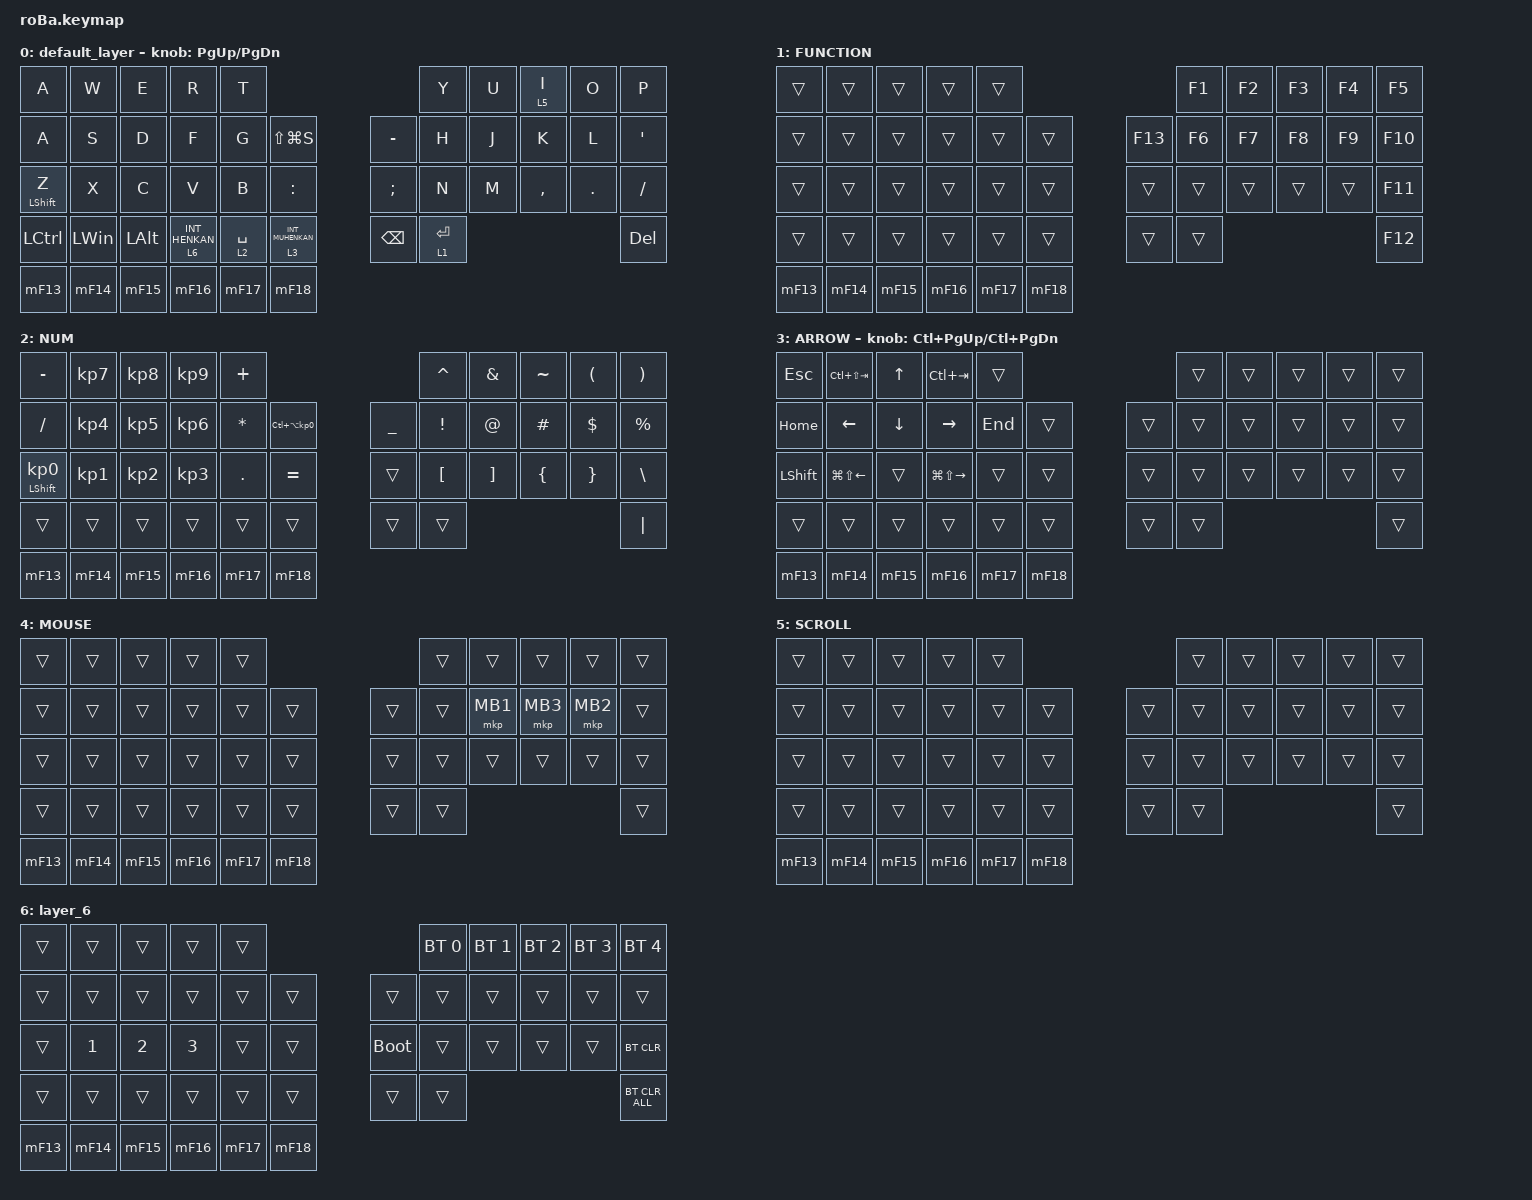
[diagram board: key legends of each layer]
#include <behaviors.dtsi>
#include <dt-bindings/zmk/bt.h>
#include <dt-bindings/zmk/keys.h>
#include <dt-bindings/zmk/pointing.h>

#define MOUSE 4
#define SCROLL 5
#define NUM 6

&mt {
    flavor = "balanced";
    quick-tap-ms = <0>;
};

/ {
    combos {
        compatible = "zmk,combos";

        tab {
            bindings = <&kp TAB>;
            key-positions = <11 12>;
        };

        shift_tab {
            bindings = <&kp LS(TAB)>;
            key-positions = <12 13>;
        };

        muhennkann {
            bindings = <&to_layer_0 INT_MUHENKAN>;
            key-positions = <11 10>;
        };

        double_quotation {
            bindings = <&kp DOUBLE_QUOTES>;
            key-positions = <20 21>;
        };

        eq {
            bindings = <&kp EQUAL>;
            key-positions = <24 25>;
        };
    };

    macros {
        to_layer_0: to_layer_0 {
            compatible = "zmk,behavior-macro-one-param";
            #binding-cells = <1>;
            bindings = <&to 0 &macro_param_1to1 &kp MACRO_PLACEHOLDER>;
            label = "TO_LAYER_0";
        };
    };

    behaviors {
        lt_to_layer_0: lt_to_layer_0 {
            compatible = "zmk,behavior-hold-tap";
            label = "LAYER_TAP_TO_0";
            bindings = <&mo>, <&to_layer_0>;

            #binding-cells = <2>;
            tapping-term-ms = <200>;
        };
        
		leader1: leader1 {
            compatible = "zmk,behavior-leader-key";
            #binding-cells = <0>;
            leftdown { sequence = <F14 F15>; bindings = <&kp PG_DN>; };
        };
        leader2: leader2 {
            compatible = "zmk,behavior-leader-key";
            #binding-cells = <0>;
            leftup   { sequence = <F14 F13>; bindings = <&kp PG_UP>; };
        };
        leader3: leader3 {
            compatible = "zmk,behavior-leader-key";
            #binding-cells = <0>;
            rightdown { sequence = <F17 F18>; bindings = <&kp END>; };
        };
        leader4: leader4 {
            compatible = "zmk,behavior-leader-key";
            #binding-cells = <0>;
            rightup   { sequence = <F17 F16>; bindings = <&kp HOME>; };
        };
		mF13: mF13 {
            compatible = "zmk,behavior-macro";
            #binding-cells = <0>;
            bindings = <&macro_tap &kp F13>
                     , <&leader1>;
        };
        mF14: mF14 {
            compatible = "zmk,behavior-macro";
            #binding-cells = <0>;
            bindings = <&macro_tap &kp F14>;
        };
        mF15: mF15 {
            compatible = "zmk,behavior-macro";
            #binding-cells = <0>;
            bindings = <&macro_tap &kp F15>
                     , <&leader2>;
        };
        mF16: mF16 {
            compatible = "zmk,behavior-macro";
            #binding-cells = <0>;
            bindings = <&macro_tap &kp F16>
                    , <&leader3>;
        };
        mF17: mF17 {
            compatible = "zmk,behavior-macro";
            #binding-cells = <0>;
            bindings = <&macro_tap &kp F17>;
        };
        mF18: mF18 {
            compatible = "zmk,behavior-macro";
            #binding-cells = <0>;
            bindings = <&macro_tap &kp F18>
                    , <&leader4>;
        };
    };

    keymap {
        compatible = "zmk,keymap";

        default_layer {
            bindings = <
&kp A             &kp W         &kp E         &kp R                        &kp T                                                          &kp Y        &kp U  &lt 5 I    &kp O    &kp P
&kp A             &kp S         &kp D         &kp F                        &kp G        &kp LS(LG(S))                      &kp MINUS      &kp H        &kp J  &kp K      &kp L    &kp SQT
&mt LEFT_SHIFT Z  &kp X         &kp C         &kp V                        &kp B        &kp COLON                          &kp SEMICOLON  &kp N        &kp M  &kp COMMA  &kp DOT  &kp SLASH
&kp LCTRL         &kp LEFT_WIN  &kp LEFT_ALT  &lt_to_layer_0 6 INT_HENKAN  &lt 2 SPACE  &lt_to_layer_0 3 INT_MUHENKAN      &kp BACKSPACE  &lt 1 ENTER                             &kp DEL
&mF13   &mF14   &mF15   &mF16   &mF17   &mF18
            >;

            sensor-bindings = <&inc_dec_kp PG_UP PAGE_DOWN>;
        };

        FUNCTION {
            bindings = <
&trans  &trans  &trans  &trans  &trans                       &kp F1  &kp F2  &kp F3  &kp F4  &kp F5
&trans  &trans  &trans  &trans  &trans  &trans      &kp F13  &kp F6  &kp F7  &kp F8  &kp F9  &kp F10
&trans  &trans  &trans  &trans  &trans  &trans      &trans   &trans  &trans  &trans  &trans  &kp F11
&trans  &trans  &trans  &trans  &trans  &trans      &trans   &trans                          &kp F12
&mF13   &mF14   &mF15   &mF16   &mF17   &mF18
            >;
        };

        NUM {
            bindings = <
&kp MINUS                   &kp KP_NUMBER_7  &kp KP_NUMBER_8  &kp KP_NUMBER_9  &kp PLUS                                                   &kp CARET         &kp AMPERSAND      &kp TILDE       &kp LEFT_PARENTHESIS  &kp RIGHT_PARENTHESIS
&kp SLASH                   &kp KP_NUMBER_4  &kp KP_NUMBER_5  &kp KP_NUMBER_6  &kp ASTERISK  &kp LC(LA(KP_NUMBER_0))      &kp UNDERSCORE  &kp EXCLAMATION   &kp AT_SIGN        &kp HASH        &kp DOLLAR            &kp PERCENT
&mt LEFT_SHIFT KP_NUMBER_0  &kp KP_NUMBER_1  &kp KP_NUMBER_2  &kp KP_NUMBER_3  &kp PERIOD    &kp EQUAL                    &trans          &kp LEFT_BRACKET  &kp RIGHT_BRACKET  &kp LEFT_BRACE  &kp RIGHT_BRACE       &kp BACKSLASH
&trans                      &trans           &trans           &trans           &trans        &trans                       &trans          &trans                                                                     &kp PIPE
&mF13   &mF14   &mF15   &mF16   &mF17   &mF18
            >;
        };

        ARROW {
            bindings = <
&kp ESCAPE      &kp LC(LS(TAB))         &kp UP_ARROW    &kp LC(TAB)              &trans                       &trans  &trans  &trans  &trans  &trans
&kp HOME        &kp LEFT_ARROW          &kp DOWN_ARROW  &kp RIGHT_ARROW          &kp END  &trans      &trans  &trans  &trans  &trans  &trans  &trans
&kp LEFT_SHIFT  &kp LG(LS(LEFT_ARROW))  &trans          &kp LG(LS(RIGHT_ARROW))  &trans   &trans      &trans  &trans  &trans  &trans  &trans  &trans
&trans          &trans                  &trans          &trans                   &trans   &trans      &trans  &trans                          &trans
&mF13   &mF14   &mF15   &mF16   &mF17   &mF18
            >;

            sensor-bindings = <&inc_dec_kp LC(PAGE_UP) LC(PAGE_DOWN)>;
        };

        MOUSE {
            bindings = <
&trans  &trans  &trans  &trans  &trans                      &trans  &trans    &trans    &trans    &trans
&trans  &trans  &trans  &trans  &trans  &trans      &trans  &trans  &mkp MB1  &mkp MB3  &mkp MB2  &trans
&trans  &trans  &trans  &trans  &trans  &trans      &trans  &trans  &trans    &trans    &trans    &trans
&trans  &trans  &trans  &trans  &trans  &trans      &trans  &trans                                &trans
&mF13   &mF14   &mF15   &mF16   &mF17   &mF18
            >;
        };

        SCROLL {
            bindings = <
&trans  &trans  &trans  &trans  &trans                      &trans  &trans  &trans  &trans  &trans
&trans  &trans  &trans  &trans  &trans  &trans      &trans  &trans  &trans  &trans  &trans  &trans
&trans  &trans  &trans  &trans  &trans  &trans      &trans  &trans  &trans  &trans  &trans  &trans
&trans  &trans  &trans  &trans  &trans  &trans      &trans  &trans                          &trans
&mF13   &mF14   &mF15   &mF16   &mF17   &mF18
            >;
        };

        layer_6 {
            bindings = <
&trans  &trans        &trans        &trans        &trans                           &bt BT_SEL 0  &bt BT_SEL 1  &bt BT_SEL 2  &bt BT_SEL 3  &bt BT_SEL 4
&trans  &trans        &trans        &trans        &trans  &trans      &trans       &trans        &trans        &trans        &trans        &trans
&trans  &kp NUMBER_1  &kp NUMBER_2  &kp NUMBER_3  &trans  &trans      &bootloader  &trans        &trans        &trans        &trans        &bt BT_CLR
&trans  &trans        &trans        &trans        &trans  &trans      &trans       &trans                                                  &bt BT_CLR_ALL
&mF13   &mF14   &mF15   &mF16   &mF17   &mF18
            >;
        };
    };
};
